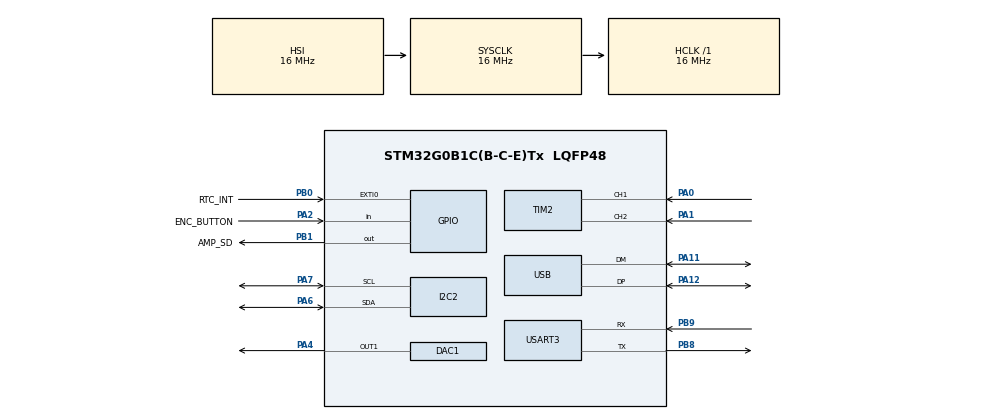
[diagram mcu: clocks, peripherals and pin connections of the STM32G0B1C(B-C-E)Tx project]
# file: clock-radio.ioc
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DAC1.DAC_Channel-DAC_OUT1=DAC_CHANNEL_1
DAC1.DAC_Trigger-DAC_OUT1=DAC_TRIGGER_T6_TRGO
Dma.DAC1_CH1.0.Direction=DMA_MEMORY_TO_PERIPH
Dma.DAC1_CH1.0.EventEnable=DISABLE
Dma.DAC1_CH1.0.Instance=DMA1_Channel1
Dma.DAC1_CH1.0.MemDataAlignment=DMA_MDATAALIGN_BYTE
Dma.DAC1_CH1.0.MemInc=DMA_MINC_ENABLE
Dma.DAC1_CH1.0.Mode=DMA_CIRCULAR
Dma.DAC1_CH1.0.PeriphDataAlignment=DMA_PDATAALIGN_BYTE
Dma.DAC1_CH1.0.PeriphInc=DMA_PINC_DISABLE
Dma.DAC1_CH1.0.Polarity=HAL_DMAMUX_REQ_GEN_RISING
Dma.DAC1_CH1.0.Priority=DMA_PRIORITY_LOW
Dma.DAC1_CH1.0.RequestNumber=1
Dma.DAC1_CH1.0.SignalID=NONE
Dma.DAC1_CH1.0.SyncEnable=DISABLE
Dma.DAC1_CH1.0.SyncPolarity=HAL_DMAMUX_SYNC_NO_EVENT
Dma.DAC1_CH1.0.SyncRequestNumber=1
Dma.DAC1_CH1.0.SyncSignalID=NONE
Dma.Request0=DAC1_CH1
I2C2.Timing=0x00310B16
Mcu.Family=STM32G0
Mcu.Name=STM32G0B1C(B-C-E)Tx
Mcu.Package=LQFP48
NVIC.DMA1_Channel1_IRQn=true\:0\:0\:false\:false\:true\:false\:true\:true
NVIC.EXTI0_1_IRQn=true\:0\:0\:false\:false\:true\:true\:true\:true
PA0.Signal=S_TIM2_CH1_ETR
PA1.Signal=S_TIM2_CH2
PA11\ [PA9].Mode=Device
PA11\ [PA9].Signal=USB_DM
PA12\ [PA10].Mode=Device
PA12\ [PA10].Signal=USB_DP
PA13.Mode=Serial_Wire
PA13.Signal=SYS_SWDIO
PA14-BOOT0.Mode=Serial_Wire
PA14-BOOT0.Signal=SYS_SWCLK
PA2.GPIO_Label=ENC_BUTTON
PA2.GPIO_PuPd=GPIO_PULLUP
PA2.Signal=GPIO_Input
PA4.Signal=COMP_DAC11_group
PA6.Mode=I2C
PA6.Signal=I2C2_SDA
PA7.Mode=I2C
PA7.Signal=I2C2_SCL
PB0.GPIO_Label=RTC_INT
PB0.GPIO_ModeDefaultEXTI=GPIO_MODE_IT_FALLING
PB0.GPIO_PuPd=GPIO_PULLUP
PB0.Signal=GPXTI0
PB1.GPIO_Label=AMP_SD
PB1.Signal=GPIO_Output
PB8.Mode=Asynchronous
PB8.Signal=USART3_TX
PB9.Mode=Asynchronous
PB9.Signal=USART3_RX
ProjectManager.HeapSize=0x200
ProjectManager.StackSize=0x400
ProjectManager.TargetToolchain=CMake
RCC.AHBFreq_Value=16000000
RCC.CortexFreq_Value=16000000
RCC.EXTERNAL_CLOCK_VALUE=48000
RCC.HCLKFreq_Value=16000000
RCC.HSE_VALUE=8000000
RCC.HSI48_VALUE=48000000
RCC.HSI_VALUE=16000000
RCC.LSE_VALUE=32768
RCC.SYSCLKFreq_VALUE=16000000
RCC.USBFreq_Value=48000000
RCC.VCOOutputFreq_Value=128000000
SH.COMP_DAC11_group.0=DAC1_OUT1,DAC_OUT1
SH.S_TIM2_CH1_ETR.0=TIM2_CH1,Encoder_Interface
SH.S_TIM2_CH2.0=TIM2_CH2,Encoder_Interface
TIM2.EncoderMode=TIM_ENCODERMODE_TI12
TIM6.Period=999
TIM6.TIM_MasterOutputTrigger=TIM_TRGO_UPDATE
USART3.VirtualMode-Asynchronous=VM_ASYNC
VP_RCC_USB.Mode=CRS SYNC Source USB
VP_SYS_VS_DBSignals.Mode=DisableDeadBatterySignals
VP_TIM6_VS_ClockSourceINT.Mode=Enable_Timer
board=custom

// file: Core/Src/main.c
/* USER CODE BEGIN Header */
/**
  ******************************************************************************
  * @file           : main.c
  * @brief          : Main program body
  ******************************************************************************
  * @attention
  *
  * Copyright (c) 2026 STMicroelectronics.
  * All rights reserved.
  *
  * This software is licensed under terms that can be found in the LICENSE file
  * in the root directory of this software component.
  * If no LICENSE file comes with this software, it is provided AS-IS.
  *
  ******************************************************************************
  */
/* USER CODE END Header */
#include "main.h"

/* USER CODE BEGIN Includes */
#include "ui.h"
#include "usb_device.h"
#include "console.h"
/* USER CODE END Includes */

DAC_HandleTypeDef hdac1;
DMA_HandleTypeDef hdma_dac1_ch1;

I2C_HandleTypeDef hi2c2;

TIM_HandleTypeDef htim2;
TIM_HandleTypeDef htim6;

UART_HandleTypeDef huart3;

PCD_HandleTypeDef hpcd_USB_DRD_FS;

void SystemClock_Config(void);
static void MX_GPIO_Init(void);
static void MX_DMA_Init(void);
static void MX_DAC1_Init(void);
static void MX_I2C2_Init(void);
static void MX_TIM2_Init(void);
static void MX_TIM6_Init(void);
static void MX_USART3_UART_Init(void);
static void MX_USB_DRD_FS_PCD_Init(void);

/* USER CODE BEGIN 0 */
/* Jump to the ROM bootloader (USB DFU). Callable from the running app
 * (console "dfu" command) as well as early boot: the USB peripheral is
 * force-reset so the bootloader finds virgin hardware even if the app
 * was enumerated, and IRQs are masked/cleared via NVIC, not PRIMASK -
 * the bootloader needs interrupts deliverable once it sets its own up. */
void dfu_jump(void)
{
  uint32_t boot_msp   = *(volatile uint32_t *)0x1FFF0000u;  /* system memory */
  uint32_t boot_entry = *(volatile uint32_t *)0x1FFF0004u;

  __HAL_RCC_USB_FORCE_RESET();
  __HAL_RCC_USB_RELEASE_RESET();
  HAL_RCC_DeInit();
  SysTick->CTRL = 0; SysTick->LOAD = 0; SysTick->VAL = 0;
  NVIC->ICER[0U] = 0xFFFFFFFFu;
  NVIC->ICPR[0U] = 0xFFFFFFFFu;
  __HAL_RCC_SYSCFG_CLK_ENABLE();
  __HAL_SYSCFG_REMAPMEMORY_SYSTEMFLASH();
  __set_MSP(boot_msp);
  ((void (*)(void))boot_entry)();
}

/* Enter the ROM bootloader when the encoder button is held at power-up.
 * Runs before peripheral init, so it configures the one pin it needs
 * itself. */
static void dfu_enter_if_button_held(void)
{
  GPIO_InitTypeDef gi = {0};
  __HAL_RCC_GPIOA_CLK_ENABLE();
  gi.Pin  = ENC_BUTTON_Pin;
  gi.Mode = GPIO_MODE_INPUT;
  gi.Pull = GPIO_PULLUP;
  HAL_GPIO_Init(ENC_BUTTON_GPIO_Port, &gi);

  HAL_Delay(50);                       /* pull-up settle + debounce */
  if (HAL_GPIO_ReadPin(ENC_BUTTON_GPIO_Port, ENC_BUTTON_Pin) != GPIO_PIN_RESET)
    return;

  dfu_jump();
}
/* USER CODE END 0 */

int main(void)
{

  /* USER CODE BEGIN 1 */
  /* After a dfu-util ":leave" the ROM bootloader jumps here with VTOR
   * still pointing at its own vector table, so every interrupt (SysTick,
   * USB, ...) would land in ROM code. Reclaim the vectors first. */
  SCB->VTOR = FLASH_BASE;
  /* USER CODE END 1 */

  /* MCU Configuration--------------------------------------------------------*/

  /* Reset of all peripherals, Initializes the Flash interface and the Systick. */
  HAL_Init();

  /* Configure the system clock */
  SystemClock_Config();

  /* USER CODE BEGIN SysInit */
  dfu_enter_if_button_held();
  /* USER CODE END SysInit */

  /* Initialize all configured peripherals */
  MX_GPIO_Init();
  MX_DMA_Init();
  MX_DAC1_Init();
  MX_I2C2_Init();
  MX_TIM2_Init();
  MX_TIM6_Init();
  MX_USART3_UART_Init();
  MX_USB_DRD_FS_PCD_Init();
  /* USER CODE BEGIN 2 */
  ui_init();
  MX_USB_Device_Init();        /* CDC command console on the USB port */
  /* USER CODE END 2 */

  /* Infinite loop */
  while (1)
  {

    /* USER CODE BEGIN 3 */
    ui_tick();
    console_tick();
  }
  /* USER CODE END 3 */
}

void SystemClock_Config(void)
{
  RCC_OscInitTypeDef RCC_OscInitStruct = {0};
  RCC_ClkInitTypeDef RCC_ClkInitStruct = {0};
  RCC_CRSInitTypeDef pInit = {0};

  /** Configure the main internal regulator output voltage
  */
  HAL_PWREx_ControlVoltageScaling(PWR_REGULATOR_VOLTAGE_SCALE1);

  /** Initializes the RCC Oscillators according to the specified parameters
  * in the RCC_OscInitTypeDef structure.
  */
  RCC_OscInitStruct.OscillatorType = RCC_OSCILLATORTYPE_HSI|RCC_OSCILLATORTYPE_HSI48;
  RCC_OscInitStruct.HSIState = RCC_HSI_ON;
  RCC_OscInitStruct.HSI48State = RCC_HSI48_ON;
  RCC_OscInitStruct.HSIDiv = RCC_HSI_DIV1;
  RCC_OscInitStruct.HSICalibrationValue = RCC_HSICALIBRATION_DEFAULT;
  RCC_OscInitStruct.PLL.PLLState = RCC_PLL_NONE;
  if (HAL_RCC_OscConfig(&RCC_OscInitStruct) != HAL_OK)
  {
    Error_Handler();
  }

  /** Initializes the CPU, AHB and APB buses clocks
  */
  RCC_ClkInitStruct.ClockType = RCC_CLOCKTYPE_HCLK|RCC_CLOCKTYPE_SYSCLK
                              |RCC_CLOCKTYPE_PCLK1;
  RCC_ClkInitStruct.SYSCLKSource = RCC_SYSCLKSOURCE_HSI;
  RCC_ClkInitStruct.AHBCLKDivider = RCC_SYSCLK_DIV1;
  RCC_ClkInitStruct.APB1CLKDivider = RCC_HCLK_DIV1;

  if (HAL_RCC_ClockConfig(&RCC_ClkInitStruct, FLASH_LATENCY_0) != HAL_OK)
  {
    Error_Handler();
  }

  /** Enable the SYSCFG APB clock
  */
  __HAL_RCC_CRS_CLK_ENABLE();

  /** Configures CRS
  */
  pInit.Prescaler = RCC_CRS_SYNC_DIV1;
  pInit.Source = RCC_CRS_SYNC_SOURCE_USB;
  pInit.Polarity = RCC_CRS_SYNC_POLARITY_RISING;
  pInit.ReloadValue = __HAL_RCC_CRS_RELOADVALUE_CALCULATE(48000000,1000);
  pInit.ErrorLimitValue = 34;
  pInit.HSI48CalibrationValue = 32;

  HAL_RCCEx_CRSConfig(&pInit);
}

static void MX_DAC1_Init(void)
{

  DAC_ChannelConfTypeDef sConfig = {0};

  /** DAC Initialization
  */
  hdac1.Instance = DAC1;
  if (HAL_DAC_Init(&hdac1) != HAL_OK)
  {
    Error_Handler();
  }

  /** DAC channel OUT1 config
  */
  sConfig.DAC_SampleAndHold = DAC_SAMPLEANDHOLD_DISABLE;
  sConfig.DAC_Trigger = DAC_TRIGGER_T6_TRGO;
  sConfig.DAC_OutputBuffer = DAC_OUTPUTBUFFER_ENABLE;
  sConfig.DAC_ConnectOnChipPeripheral = DAC_CHIPCONNECT_DISABLE;
  sConfig.DAC_UserTrimming = DAC_TRIMMING_FACTORY;
  if (HAL_DAC_ConfigChannel(&hdac1, &sConfig, DAC_CHANNEL_1) != HAL_OK)
  {
    Error_Handler();
  }

}

static void MX_I2C2_Init(void)
{

  hi2c2.Instance = I2C2;
  hi2c2.Init.Timing = 0x00310B16;
  hi2c2.Init.OwnAddress1 = 0;
  hi2c2.Init.AddressingMode = I2C_ADDRESSINGMODE_7BIT;
  hi2c2.Init.DualAddressMode = I2C_DUALADDRESS_DISABLE;
  hi2c2.Init.OwnAddress2 = 0;
  hi2c2.Init.OwnAddress2Masks = I2C_OA2_NOMASK;
  hi2c2.Init.GeneralCallMode = I2C_GENERALCALL_DISABLE;
  hi2c2.Init.NoStretchMode = I2C_NOSTRETCH_DISABLE;
  if (HAL_I2C_Init(&hi2c2) != HAL_OK)
  {
    Error_Handler();
  }

  /** Configure Analogue filter
  */
  if (HAL_I2CEx_ConfigAnalogFilter(&hi2c2, I2C_ANALOGFILTER_ENABLE) != HAL_OK)
  {
    Error_Handler();
  }

  /** Configure Digital filter
  */
  if (HAL_I2CEx_ConfigDigitalFilter(&hi2c2, 0) != HAL_OK)
  {
    Error_Handler();
  }

}

static void MX_TIM2_Init(void)
{

  TIM_Encoder_InitTypeDef sConfig = {0};
  TIM_MasterConfigTypeDef sMasterConfig = {0};

  htim2.Instance = TIM2;
  htim2.Init.Prescaler = 0;
  htim2.Init.CounterMode = TIM_COUNTERMODE_UP;
  htim2.Init.Period = 4294967295;
  htim2.Init.ClockDivision = TIM_CLOCKDIVISION_DIV1;
  htim2.Init.AutoReloadPreload = TIM_AUTORELOAD_PRELOAD_DISABLE;
  sConfig.EncoderMode = TIM_ENCODERMODE_TI12;
  sConfig.IC1Polarity = TIM_ICPOLARITY_RISING;
  sConfig.IC1Selection = TIM_ICSELECTION_DIRECTTI;
  sConfig.IC1Prescaler = TIM_ICPSC_DIV1;
  sConfig.IC1Filter = 0;
  sConfig.IC2Polarity = TIM_ICPOLARITY_RISING;
  sConfig.IC2Selection = TIM_ICSELECTION_DIRECTTI;
  sConfig.IC2Prescaler = TIM_ICPSC_DIV1;
  sConfig.IC2Filter = 0;
  if (HAL_TIM_Encoder_Init(&htim2, &sConfig) != HAL_OK)
  {
    Error_Handler();
  }
  sMasterConfig.MasterOutputTrigger = TIM_TRGO_RESET;
  sMasterConfig.MasterSlaveMode = TIM_MASTERSLAVEMODE_DISABLE;
  if (HAL_TIMEx_MasterConfigSynchronization(&htim2, &sMasterConfig) != HAL_OK)
  {
    Error_Handler();
  }

}

static void MX_TIM6_Init(void)
{

  TIM_MasterConfigTypeDef sMasterConfig = {0};

  htim6.Instance = TIM6;
  htim6.Init.Prescaler = 0;
  htim6.Init.CounterMode = TIM_COUNTERMODE_UP;
  htim6.Init.Period = 999;
  htim6.Init.AutoReloadPreload = TIM_AUTORELOAD_PRELOAD_DISABLE;
  if (HAL_TIM_Base_Init(&htim6) != HAL_OK)
  {
    Error_Handler();
  }
  sMasterConfig.MasterOutputTrigger = TIM_TRGO_UPDATE;
  sMasterConfig.MasterSlaveMode = TIM_MASTERSLAVEMODE_DISABLE;
  if (HAL_TIMEx_MasterConfigSynchronization(&htim6, &sMasterConfig) != HAL_OK)
  {
    Error_Handler();
  }

}

static void MX_USART3_UART_Init(void)
{

  huart3.Instance = USART3;
  huart3.Init.BaudRate = 115200;
  huart3.Init.WordLength = UART_WORDLENGTH_8B;
  huart3.Init.StopBits = UART_STOPBITS_1;
  huart3.Init.Parity = UART_PARITY_NONE;
  huart3.Init.Mode = UART_MODE_TX_RX;
  huart3.Init.HwFlowCtl = UART_HWCONTROL_NONE;
  huart3.Init.OverSampling = UART_OVERSAMPLING_16;
  huart3.Init.OneBitSampling = UART_ONE_BIT_SAMPLE_DISABLE;
  huart3.Init.ClockPrescaler = UART_PRESCALER_DIV1;
  huart3.AdvancedInit.AdvFeatureInit = UART_ADVFEATURE_NO_INIT;
  if (HAL_UART_Init(&huart3) != HAL_OK)
  {
    Error_Handler();
  }
  if (HAL_UARTEx_SetTxFifoThreshold(&huart3, UART_TXFIFO_THRESHOLD_1_8) != HAL_OK)
  {
    Error_Handler();
  }
  if (HAL_UARTEx_SetRxFifoThreshold(&huart3, UART_RXFIFO_THRESHOLD_1_8) != HAL_OK)
  {
    Error_Handler();
  }
  if (HAL_UARTEx_DisableFifoMode(&huart3) != HAL_OK)
  {
    Error_Handler();
  }

}

static void MX_USB_DRD_FS_PCD_Init(void)
{

  /* USER CODE BEGIN USB_DRD_FS_Init 1 */
  /* hard-reset the USB block: after a dfu-util ":leave" jump the ROM
   * bootloader leaves it configured, which can block re-enumeration */
  __HAL_RCC_USB_FORCE_RESET();
  HAL_Delay(2);
  __HAL_RCC_USB_RELEASE_RESET();
  /* USER CODE END USB_DRD_FS_Init 1 */
  hpcd_USB_DRD_FS.Instance = USB_DRD_FS;
  hpcd_USB_DRD_FS.Init.dev_endpoints = 8;
  hpcd_USB_DRD_FS.Init.Host_channels = 8;
  hpcd_USB_DRD_FS.Init.speed = PCD_SPEED_FULL;
  hpcd_USB_DRD_FS.Init.phy_itface = PCD_PHY_EMBEDDED;
  hpcd_USB_DRD_FS.Init.Sof_enable = DISABLE;
  hpcd_USB_DRD_FS.Init.low_power_enable = DISABLE;
  hpcd_USB_DRD_FS.Init.lpm_enable = DISABLE;
  hpcd_USB_DRD_FS.Init.battery_charging_enable = DISABLE;
  hpcd_USB_DRD_FS.Init.vbus_sensing_enable = DISABLE;
  hpcd_USB_DRD_FS.Init.bulk_doublebuffer_enable = DISABLE;
  hpcd_USB_DRD_FS.Init.iso_singlebuffer_enable = DISABLE;
  if (HAL_PCD_Init(&hpcd_USB_DRD_FS) != HAL_OK)
  {
    Error_Handler();
  }

}

static void MX_DMA_Init(void)
{

  /* DMA controller clock enable */
  __HAL_RCC_DMA1_CLK_ENABLE();

  /* DMA interrupt init */
  /* DMA1_Channel1_IRQn interrupt configuration */
  HAL_NVIC_SetPriority(DMA1_Channel1_IRQn, 0, 0);
  HAL_NVIC_EnableIRQ(DMA1_Channel1_IRQn);

}

static void MX_GPIO_Init(void)
{
  GPIO_InitTypeDef GPIO_InitStruct = {0};

  /* GPIO Ports Clock Enable */
  __HAL_RCC_GPIOA_CLK_ENABLE();
  __HAL_RCC_GPIOB_CLK_ENABLE();

  /*Configure GPIO pin Output Level */
  HAL_GPIO_WritePin(AMP_SD_GPIO_Port, AMP_SD_Pin, GPIO_PIN_RESET);

  /*Configure GPIO pin : ENC_BUTTON_Pin */
  GPIO_InitStruct.Pin = ENC_BUTTON_Pin;
  GPIO_InitStruct.Mode = GPIO_MODE_INPUT;
  GPIO_InitStruct.Pull = GPIO_PULLUP;
  HAL_GPIO_Init(ENC_BUTTON_GPIO_Port, &GPIO_InitStruct);

  /*Configure GPIO pin : RTC_INT_Pin */
  GPIO_InitStruct.Pin = RTC_INT_Pin;
  GPIO_InitStruct.Mode = GPIO_MODE_IT_FALLING;
  GPIO_InitStruct.Pull = GPIO_PULLUP;
  HAL_GPIO_Init(RTC_INT_GPIO_Port, &GPIO_InitStruct);

  /*Configure GPIO pin : AMP_SD_Pin */
  GPIO_InitStruct.Pin = AMP_SD_Pin;
  GPIO_InitStruct.Mode = GPIO_MODE_OUTPUT_PP;
  GPIO_InitStruct.Pull = GPIO_NOPULL;
  GPIO_InitStruct.Speed = GPIO_SPEED_FREQ_LOW;
  HAL_GPIO_Init(AMP_SD_GPIO_Port, &GPIO_InitStruct);

  /* EXTI interrupt init*/
  HAL_NVIC_SetPriority(EXTI0_1_IRQn, 0, 0);
  HAL_NVIC_EnableIRQ(EXTI0_1_IRQn);

}

void Error_Handler(void)
{
  __disable_irq();
  while (1)
  {
  }
}
